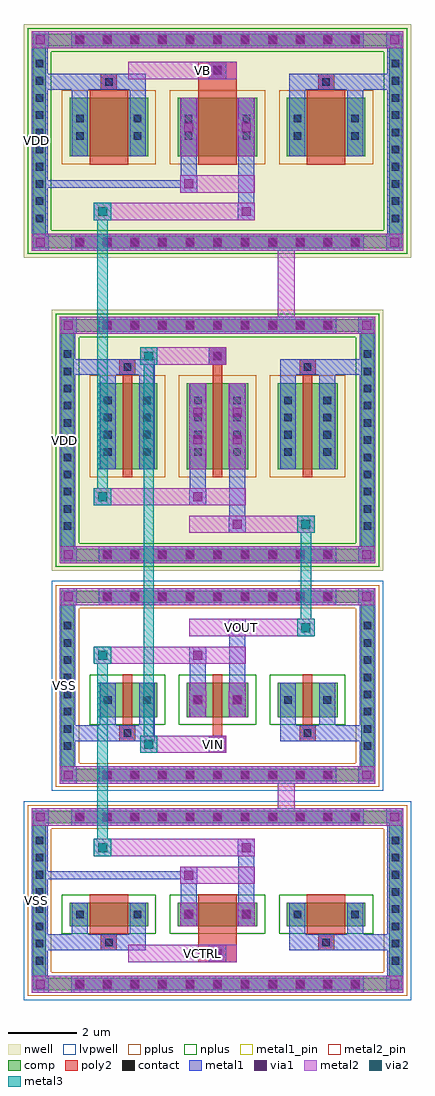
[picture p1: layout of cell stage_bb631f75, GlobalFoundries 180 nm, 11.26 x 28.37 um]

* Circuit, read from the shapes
.subckt stage_bb631f75 VB VCTRL VDD VIN VOUT VSS
XM1 VSS VSS VSS VSS nfet_03v3 w=0.68u l=1.12u m=2
XM2 VSS VSS VSS VSS nfet_03v3 w=1u l=0.28u m=2
XM3 n1 VCTRL VSS VSS nfet_03v3 w=0.68u l=1.12u
XM4 VOUT VIN n1 VSS nfet_03v3 w=1u l=0.28u
XM5 VDD VDD VDD VDD pfet_03v3 w=1.7u l=1.12u m=2
XM6 VDD VDD VDD VDD pfet_03v3 w=2.5u l=0.28u m=2
XM7 n2 VB VDD VDD pfet_03v3 w=1.7u l=1.12u
XM8 VOUT VIN n2 VDD pfet_03v3 w=2.5u l=0.28u
.ends

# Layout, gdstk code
import gdstk
lib = gdstk.Library(unit=1e-6, precision=5e-09)
def R(c, l, rs):  # rectangles x0, y0, x1, y1
    for r in rs: c.add(gdstk.rectangle(r[:2], r[2:], *l))
def A(c, l, x, y, w, h, nx, ny, dx, dy):  # array of equal rectangles
    R(c, l, [(x+i*dx, y+j*dy, x+i*dx+w, y+j*dy+h) for i in range(nx) for j in range(ny)])
def P(c, l, *ps):  # polygons
    for p in ps: c.add(gdstk.Polygon(p, *l))
nwell = (21, 0)
comp = (22, 0)
poly2 = (30, 0)
pplus = (31, 0)
nplus = (32, 0)
contact = (33, 0)
metal1 = (34, 0)
metal1_pin = (34, 10)
via1 = (35, 0)
metal2 = (36, 0)
metal2_pin = (36, 10)
via2 = (38, 0)
metal3 = (42, 0)
lvpwell = (204, 0)

stage_bb631f75 = lib.new_cell('stage_bb631f75')
R(stage_bb631f75, nwell, [(-4.82,9.59,4.82,17.18), (-4.66,9.75,4.66,17.02), (-5.63,18.68,5.63,25.48), (-5.47,18.84,5.47,25.32)])
A(stage_bb631f75, comp, -4.18, -2.61, 0.36, 0.36, 11, 2, 0.8, 4.86)
A(stage_bb631f75, comp, -5.35, -1.93, 0.36, 0.36, 1, 8, 0, 0.5)
A(stage_bb631f75, comp, 4.99, -1.93, 0.36, 0.36, 1, 8, 0, 0.5)
A(stage_bb631f75, comp, -3.38, 3.47, 0.36, 0.36, 9, 2, 0.8, 5.18)
A(stage_bb631f75, comp, -4.54, 4.31, 0.36, 0.36, 1, 8, 0, 0.5)
A(stage_bb631f75, comp, 4.18, 4.31, 0.36, 0.36, 1, 8, 0, 0.5)
A(stage_bb631f75, comp, -3.38, 9.87, 0.36, 0.36, 9, 2, 0.8, 6.67)
A(stage_bb631f75, comp, -4.54, 10.705, 0.36, 0.36, 1, 11, 0, 0.5)
A(stage_bb631f75, comp, 4.18, 10.705, 0.36, 0.36, 1, 11, 0, 0.5)
A(stage_bb631f75, comp, -4.18, 18.96, 0.36, 0.36, 11, 2, 0.8, 5.88)
A(stage_bb631f75, comp, -5.35, 19.65, 0.36, 0.36, 1, 10, 0, 0.5)
A(stage_bb631f75, comp, 4.99, 19.65, 0.36, 0.36, 1, 10, 0, 0.5)
R(stage_bb631f75, comp, [(-4.18,-2.61,4.18,-2.25), (-5.35,-1.93,-4.99,1.93), (4.99,-1.93,5.35,1.93), (-4.3,-0.74,-2.02,-0.06), (-1.16,-0.74,1.16,-0.06), (2.02,-0.74,4.3,-0.06), (-4.18,2.25,4.18,2.61), (-3.38,3.47,3.38,3.83), (-4.54,4.31,-4.18,8.17), (4.18,4.31,4.54,8.17), (-3.49,5.335,-1.75,6.335), (-0.89,5.335,0.89,6.335), (1.75,5.335,3.49,6.335), (-3.38,8.65,3.38,9.01), (-3.38,9.87,3.38,10.23), (-4.54,10.705,-4.18,16.065), (4.18,10.705,4.54,16.065), (-3.49,12.54,-1.75,15.04), (-0.89,12.54,0.89,15.04), (1.75,12.54,3.49,15.04), (-3.38,16.54,3.38,16.9), (-4.18,18.96,4.18,19.32), (-5.35,19.65,-4.99,24.51), (4.99,19.65,5.35,24.51), (-4.3,21.63,-2.02,23.33), (-1.16,21.63,1.16,23.33), (2.02,21.63,4.3,23.33), (-4.18,24.84,4.18,25.2)])
P(stage_bb631f75, comp, [(5.35,2.61),(-5.35,2.61),(-5.35,-2.25),(-4.99,-2.25),(-4.99,2.25),(4.99,2.25),(4.99,-2.25),(-4.99,-2.25),(-5.35,-2.25),(-5.35,-2.61),(5.35,-2.61)],
  [(5.35,18.96),(-5.35,18.96),(-5.35,24.84),(-4.99,24.84),(-4.99,19.32),(4.99,19.32),(4.99,24.84),(-4.99,24.84),(-5.35,24.84),(-5.35,25.2),(5.35,25.2)],
  [(4.54,9.87),(-4.54,9.87),(-4.54,16.54),(-4.18,16.54),(-4.18,10.23),(4.18,10.23),(4.18,16.54),(-4.18,16.54),(-4.54,16.54),(-4.54,16.9),(4.54,16.9)],
  [(4.54,9.01),(-4.54,9.01),(-4.54,3.83),(-4.18,3.83),(-4.18,8.65),(4.18,8.65),(4.18,3.83),(-4.18,3.83),(-4.54,3.83),(-4.54,3.47),(4.54,3.47)])
A(stage_bb631f75, poly2, -3.72, -0.985, 1.12, 1.17, 3, 1, 3.16, 0)
A(stage_bb631f75, poly2, -2.76, 5.095, 0.28, 1.48, 3, 1, 2.62, 0)
A(stage_bb631f75, poly2, -2.76, 12.3, 0.28, 2.98, 3, 1, 2.62, 0)
A(stage_bb631f75, poly2, -3.72, 21.39, 1.12, 2.18, 3, 1, 3.16, 0)
R(stage_bb631f75, poly2, [(-0.56,-1.79,0.56,-1.29), (-0.18,-1.72,0.18,-1.36), (-3.39,-1.445,-2.93,-0.985), (2.93,-1.445,3.39,-0.985), (-3.34,-1.395,-2.98,-1.035), (2.98,-1.395,3.34,-1.035), (-0.56,-1.29,0.56,-0.985), (-0.25,4.295,0.25,4.795), (-0.18,4.365,0.18,4.725), (-2.85,4.635,-2.39,5.095), (2.39,4.635,2.85,5.095), (-2.8,4.685,-2.44,5.045), (2.44,4.685,2.8,5.045), (-0.14,4.795,0.14,5.095), (-2.85,15.28,-2.39,15.74), (-0.14,15.28,0.14,15.58), (2.39,15.28,2.85,15.74), (-2.8,15.33,-2.44,15.69), (2.44,15.33,2.8,15.69), (-0.25,15.58,0.25,16.08), (-0.18,15.65,0.18,16.01), (-3.39,23.57,-2.93,24.03), (-0.56,23.57,0.56,23.88), (2.93,23.57,3.39,24.03), (-3.34,23.62,-2.98,23.98), (2.98,23.62,3.34,23.98), (-0.56,23.88,0.56,24.38), (-0.18,23.95,0.18,24.31)])
R(stage_bb631f75, pplus, [(-3.72,12.31,-1.52,15.27), (-1.12,12.31,1.12,15.27), (1.52,12.31,3.72,15.27), (-4.53,21.4,-1.79,23.56), (-1.39,21.4,1.39,23.56), (1.79,21.4,4.53,23.56)])
P(stage_bb631f75, pplus, [(5.51,2.77),(-5.51,2.77),(-5.51,-2.09),(-4.83,-2.09),(-4.83,2.09),(4.83,2.09),(4.83,-2.09),(-4.83,-2.09),(-5.51,-2.09),(-5.51,-2.77),(5.51,-2.77)],
  [(4.7,9.17),(-4.7,9.17),(-4.7,3.99),(-4.02,3.99),(-4.02,8.49),(4.02,8.49),(4.02,3.99),(-4.02,3.99),(-4.7,3.99),(-4.7,3.31),(4.7,3.31)])
R(stage_bb631f75, nplus, [(-4.53,-0.97,-1.79,0.17), (-1.39,-0.97,1.39,0.17), (1.79,-0.97,4.53,0.17), (-3.72,5.105,-1.52,6.565), (-1.12,5.105,1.12,6.565), (1.52,5.105,3.72,6.565)])
P(stage_bb631f75, nplus, [(5.51,18.8),(-5.51,18.8),(-5.51,24.68),(-4.83,24.68),(-4.83,19.48),(4.83,19.48),(4.83,24.68),(-4.83,24.68),(-5.51,24.68),(-5.51,25.36),(5.51,25.36)],
  [(4.7,9.71),(-4.7,9.71),(-4.7,16.38),(-4.02,16.38),(-4.02,10.39),(4.02,10.39),(4.02,16.38),(-4.02,16.38),(-4.7,16.38),(-4.7,17.06),(4.7,17.06)])
A(stage_bb631f75, contact, -4.11, -2.54, 0.22, 0.22, 11, 2, 0.8, 4.86)
A(stage_bb631f75, contact, -5.28, -1.86, 0.22, 0.22, 1, 8, 0, 0.5)
A(stage_bb631f75, contact, 5.06, -1.86, 0.22, 0.22, 1, 8, 0, 0.5)
A(stage_bb631f75, contact, -3.31, 3.54, 0.22, 0.22, 9, 2, 0.8, 5.18)
A(stage_bb631f75, contact, -4.47, 4.38, 0.22, 0.22, 1, 8, 0, 0.5)
A(stage_bb631f75, contact, 4.25, 4.38, 0.22, 0.22, 1, 8, 0, 0.5)
A(stage_bb631f75, contact, -3.31, 9.94, 0.22, 0.22, 9, 2, 0.8, 6.67)
A(stage_bb631f75, contact, -4.47, 10.775, 0.22, 0.22, 1, 11, 0, 0.5)
A(stage_bb631f75, contact, 4.25, 10.775, 0.22, 0.22, 1, 11, 0, 0.5)
A(stage_bb631f75, contact, -3.3, 12.93, 0.22, 0.22, 1, 4, 0, 0.5)
A(stage_bb631f75, contact, -2.16, 12.93, 0.22, 0.22, 1, 4, 0, 0.5)
A(stage_bb631f75, contact, -0.68, 12.93, 0.22, 0.22, 1, 4, 0, 0.5)
A(stage_bb631f75, contact, 0.46, 12.93, 0.22, 0.22, 1, 4, 0, 0.5)
A(stage_bb631f75, contact, 1.94, 12.93, 0.22, 0.22, 1, 4, 0, 0.5)
A(stage_bb631f75, contact, 3.08, 12.93, 0.22, 0.22, 1, 4, 0, 0.5)
A(stage_bb631f75, contact, -4.11, 19.03, 0.22, 0.22, 11, 2, 0.8, 5.88)
A(stage_bb631f75, contact, -5.28, 19.72, 0.22, 0.22, 1, 10, 0, 0.5)
A(stage_bb631f75, contact, 5.06, 19.72, 0.22, 0.22, 1, 10, 0, 0.5)
R(stage_bb631f75, contact, [(-0.11,-1.65,0.11,-1.43), (-3.27,-1.325,-3.05,-1.105), (3.05,-1.325,3.27,-1.105), (-4.11,-0.51,-3.89,-0.29), (-2.43,-0.51,-2.21,-0.29), (-0.95,-0.51,-0.73,-0.29), (0.73,-0.51,0.95,-0.29), (2.21,-0.51,2.43,-0.29), (3.89,-0.51,4.11,-0.29), (-0.11,4.435,0.11,4.655), (-2.73,4.755,-2.51,4.975), (2.51,4.755,2.73,4.975), (-3.3,5.725,-3.08,5.945), (-2.16,5.725,-1.94,5.945), (-0.68,5.725,-0.46,5.945), (0.46,5.725,0.68,5.945), (1.94,5.725,2.16,5.945), (3.08,5.725,3.3,5.945), (-2.73,15.4,-2.51,15.62), (2.51,15.4,2.73,15.62), (-0.11,15.72,0.11,15.94), (-4.11,22.12,-3.89,22.34), (-2.43,22.12,-2.21,22.34), (-0.95,22.12,-0.73,22.34), (0.73,22.12,0.95,22.34), (2.21,22.12,2.43,22.34), (3.89,22.12,4.11,22.34), (-4.11,22.62,-3.89,22.84), (-2.43,22.62,-2.21,22.84), (-0.95,22.62,-0.73,22.84), (0.73,22.62,0.95,22.84), (2.21,22.62,2.43,22.84), (3.89,22.62,4.11,22.84), (-3.27,23.69,-3.05,23.91), (3.05,23.69,3.27,23.91), (-0.11,24.02,0.11,24.24)])
A(stage_bb631f75, metal1, -4.25, -2.68, 0.5, 0.5, 11, 2, 0.8, 4.86)
A(stage_bb631f75, metal1, -5.4, -1.98, 0.46, 0.46, 1, 8, 0, 0.5)
A(stage_bb631f75, metal1, 4.94, -1.98, 0.46, 0.46, 1, 8, 0, 0.5)
A(stage_bb631f75, metal1, -3.45, 3.4, 0.5, 0.5, 9, 2, 0.8, 5.18)
A(stage_bb631f75, metal1, -4.59, 4.26, 0.46, 0.46, 1, 8, 0, 0.5)
A(stage_bb631f75, metal1, 4.13, 4.26, 0.46, 0.46, 1, 8, 0, 0.5)
A(stage_bb631f75, metal1, -3.45, 9.8, 0.5, 0.5, 9, 2, 0.8, 6.67)
A(stage_bb631f75, metal1, -4.59, 10.655, 0.46, 0.46, 1, 11, 0, 0.5)
A(stage_bb631f75, metal1, 4.13, 10.655, 0.46, 0.46, 1, 11, 0, 0.5)
A(stage_bb631f75, metal1, -3.42, 12.81, 0.46, 0.46, 1, 4, 0, 0.5)
A(stage_bb631f75, metal1, -2.28, 12.81, 0.46, 0.46, 1, 4, 0, 0.5)
A(stage_bb631f75, metal1, -0.8, 12.81, 0.46, 0.46, 1, 4, 0, 0.5)
A(stage_bb631f75, metal1, 0.34, 12.81, 0.46, 0.46, 1, 4, 0, 0.5)
A(stage_bb631f75, metal1, 1.82, 12.81, 0.46, 0.46, 1, 4, 0, 0.5)
A(stage_bb631f75, metal1, 2.96, 12.81, 0.46, 0.46, 1, 4, 0, 0.5)
A(stage_bb631f75, metal1, -4.25, 18.89, 0.5, 0.5, 11, 2, 0.8, 5.88)
A(stage_bb631f75, metal1, -5.4, 19.6, 0.46, 0.46, 1, 10, 0, 0.5)
A(stage_bb631f75, metal1, 4.94, 19.6, 0.46, 0.46, 1, 10, 0, 0.5)
R(stage_bb631f75, metal1, [(-5.4,-2.68,-4.9,-2.18), (-5.4,-2.68,-4.9,-2.18), (-5.4,-2.68,-4.94,-2.25), (-4.25,-2.68,4.25,-2.18), (4.9,-2.68,5.4,-2.18), (4.9,-2.68,5.4,-2.18), (4.94,-2.68,5.4,-2.25), (-5.4,-2.25,-4.94,2.25), (4.94,-2.25,5.4,2.25), (-0.25,-1.79,0.25,-1.29), (-5.4,-1.445,-3.39,-0.985), (-4.23,-1.445,-3.39,-0.985), (-4.23,-1.445,-3.77,-0.74), (-3.39,-1.445,-2.93,-0.985), (-2.93,-1.445,-2.09,-0.985), (-2.55,-1.445,-2.09,-0.74), (2.09,-1.445,2.93,-0.985), (2.09,-1.445,2.55,-0.74), (2.93,-1.445,3.39,-0.985), (2.93,-1.445,5.4,-0.985), (3.39,-1.445,4.23,-0.985), (3.77,-1.445,4.23,-0.74), (-4.23,-0.74,-3.77,-0.06), (-2.55,-0.74,-2.09,-0.06), (-1.07,-0.74,-0.61,-0.06), (0.61,-0.74,1.07,-0.06), (2.09,-0.74,2.55,-0.06), (3.77,-0.74,4.23,-0.06), (-1.09,-0.65,-0.59,-0.15), (-1.09,-0.65,-0.59,-0.15), (0.59,-0.65,1.09,-0.15), (0.59,-0.65,1.09,-0.15), (-4.23,-0.63,-3.77,-0.17), (-2.55,-0.63,-2.09,-0.17), (-1.07,-0.63,-0.61,-0.17), (0.61,-0.63,1.07,-0.17), (2.09,-0.63,2.55,-0.17), (3.77,-0.63,4.23,-0.17), (-1.07,-0.06,-0.61,0.99), (0.61,-0.06,1.07,1.79), (-1.09,0.49,-0.59,0.99), (-1.09,0.49,-0.59,0.99), (-1.09,0.49,-0.59,0.99), (-5.4,0.625,-1.09,0.855), (0.59,1.29,1.09,1.79), (-5.4,2.18,-4.9,2.68), (-5.4,2.18,-4.9,2.68), (-4.25,2.18,4.25,2.68), (4.9,2.18,5.4,2.68), (4.9,2.18,5.4,2.68), (-5.4,2.25,-4.94,2.68), (4.94,2.25,5.4,2.68), (-4.59,3.4,-4.09,3.9), (-4.59,3.4,-4.09,3.9), (-4.59,3.4,-4.13,3.83), (-3.45,3.4,3.45,3.9), (4.09,3.4,4.59,3.9), (4.09,3.4,4.59,3.9), (4.13,3.4,4.59,3.83), (-4.59,3.83,-4.13,8.65), (4.13,3.83,4.59,8.65), (-0.25,4.295,0.25,4.795), (-4.59,4.635,-2.85,5.095), (-3.42,4.635,-2.96,5.335), (-3.42,4.635,-2.85,5.095), (-2.85,4.635,-2.39,5.095), (-2.39,4.635,-1.82,5.095), (-2.28,4.635,-1.82,5.335), (1.82,4.635,2.28,5.335), (1.82,4.635,2.39,5.095), (2.39,4.635,2.85,5.095), (2.39,4.635,4.59,5.095), (2.85,4.635,3.42,5.095), (2.96,4.635,3.42,5.335), (-3.42,5.335,-2.96,6.335), (-2.28,5.335,-1.82,6.335), (-0.8,5.335,-0.34,6.335), (0.34,5.335,0.8,6.335), (1.82,5.335,2.28,6.335), (2.96,5.335,3.42,6.335), (-0.82,5.585,-0.32,6.085), (-0.82,5.585,-0.32,6.085), (0.32,5.585,0.82,6.085), (0.32,5.585,0.82,6.085), (-3.42,5.605,-2.96,6.065), (-2.28,5.605,-1.82,6.065), (-0.8,5.605,-0.34,6.065), (0.34,5.605,0.8,6.065), (1.82,5.605,2.28,6.065), (2.96,5.605,3.42,6.065), (-0.8,6.335,-0.34,7.385), (0.34,6.335,0.8,8.185), (-0.82,6.885,-0.32,7.385), (0.32,7.685,0.82,8.185), (-4.59,8.58,-4.09,9.08), (-4.59,8.58,-4.09,9.08), (-3.45,8.58,3.45,9.08), (4.09,8.58,4.59,9.08), (4.09,8.58,4.59,9.08), (-4.59,8.65,-4.13,9.08), (4.13,8.65,4.59,9.08), (-4.59,9.8,-4.09,10.3), (-4.59,9.8,-4.09,10.3), (-4.59,9.8,-4.13,10.23), (-3.45,9.8,3.45,10.3), (4.09,9.8,4.59,10.3), (4.09,9.8,4.59,10.3), (4.13,9.8,4.59,10.23), (-4.59,10.23,-4.13,16.54), (4.13,10.23,4.59,16.54), (0.32,10.69,0.82,11.19), (0.34,10.69,0.8,12.54), (-0.82,11.49,-0.32,11.99), (-0.8,11.49,-0.34,12.54), (-3.42,12.54,-2.96,15.04), (-2.28,12.54,-1.82,15.04), (-0.8,12.54,-0.34,15.04), (0.34,12.54,0.8,15.04), (1.82,12.54,2.28,15.04), (2.96,12.54,3.42,15.04), (-0.82,13.14,-0.32,13.64), (-0.82,13.14,-0.32,14.44), (0.32,13.14,0.82,13.64), (0.32,13.14,0.82,14.44), (-0.82,13.94,-0.32,14.44), (0.32,13.94,0.82,14.44), (-3.42,15.04,-2.96,15.74), (-2.28,15.04,-1.82,15.74), (1.82,15.04,2.28,15.74), (2.96,15.04,3.42,15.74), (-4.59,15.28,-2.85,15.74), (-3.42,15.28,-2.85,15.74), (-2.85,15.28,-2.39,15.74), (-2.39,15.28,-1.82,15.74), (1.82,15.28,2.39,15.74), (2.39,15.28,2.85,15.74), (2.39,15.28,4.59,15.74), (2.85,15.28,3.42,15.74), (-0.25,15.58,0.25,16.08), (-4.59,16.47,-4.09,16.97), (-4.59,16.47,-4.09,16.97), (-3.45,16.47,3.45,16.97), (4.09,16.47,4.59,16.97), (4.09,16.47,4.59,16.97), (-4.59,16.54,-4.13,16.97), (4.13,16.54,4.59,16.97), (-5.4,18.89,-4.9,19.39), (-5.4,18.89,-4.9,19.39), (-5.4,18.89,-4.94,19.32), (-4.25,18.89,4.25,19.39), (4.9,18.89,5.4,19.39), (4.9,18.89,5.4,19.39), (4.94,18.89,5.4,19.32), (-5.4,19.32,-4.94,24.84), (4.94,19.32,5.4,24.84), (0.59,19.78,1.09,20.28), (0.61,19.78,1.07,21.63), (-1.09,20.58,-0.59,21.08), (-1.09,20.58,-0.59,21.08), (-1.09,20.58,-0.59,21.08), (-1.07,20.58,-0.61,21.63), (-5.4,20.715,-1.09,20.945), (-4.23,21.63,-3.77,23.33), (-2.55,21.63,-2.09,23.33), (-1.07,21.63,-0.61,23.33), (0.61,21.63,1.07,23.33), (2.09,21.63,2.55,23.33), (3.77,21.63,4.23,23.33), (-4.23,22,-3.77,22.46), (-2.55,22,-2.09,22.46), (-1.07,22,-0.61,22.46), (0.61,22,1.07,22.46), (2.09,22,2.55,22.46), (3.77,22,4.23,22.46), (-1.09,22.23,-0.59,22.73), (-1.09,22.23,-0.59,22.73), (0.59,22.23,1.09,22.73), (0.59,22.23,1.09,22.73), (-4.23,22.5,-3.77,22.96), (-2.55,22.5,-2.09,22.96), (-1.07,22.5,-0.61,22.96), (0.61,22.5,1.07,22.96), (2.09,22.5,2.55,22.96), (3.77,22.5,4.23,22.96), (-4.23,23.33,-3.77,24.03), (-2.55,23.33,-2.09,24.03), (2.09,23.33,2.55,24.03), (3.77,23.33,4.23,24.03), (-5.4,23.57,-3.39,24.03), (-4.23,23.57,-3.39,24.03), (-3.39,23.57,-2.93,24.03), (-2.93,23.57,-2.09,24.03), (2.09,23.57,2.93,24.03), (2.93,23.57,3.39,24.03), (2.93,23.57,5.4,24.03), (3.39,23.57,4.23,24.03), (-0.25,23.88,0.25,24.38), (-5.4,24.77,-4.9,25.27), (-5.4,24.77,-4.9,25.27), (-4.25,24.77,4.25,25.27), (4.9,24.77,5.4,25.27), (4.9,24.77,5.4,25.27), (-5.4,24.84,-4.94,25.27), (4.94,24.84,5.4,25.27)])
R(stage_bb631f75, metal1_pin, [(-5.4,-0.135,-5.13,0.135), (-4.59,6.105,-4.32,6.375), (-4.59,13.25,-4.32,13.52), (-5.4,21.945,-5.13,22.215)])
A(stage_bb631f75, via1, -4.13, -2.56, 0.26, 0.26, 11, 2, 0.8, 4.86)
A(stage_bb631f75, via1, -3.33, 3.52, 0.26, 0.26, 9, 2, 0.8, 5.18)
A(stage_bb631f75, via1, -3.33, 9.92, 0.26, 0.26, 9, 2, 0.8, 6.67)
A(stage_bb631f75, via1, -4.13, 19.01, 0.26, 0.26, 11, 2, 0.8, 5.88)
R(stage_bb631f75, via1, [(-5.28,-2.56,-5.02,-2.3), (5.02,-2.56,5.28,-2.3), (-0.13,-1.67,0.13,-1.41), (-0.97,-0.53,-0.71,-0.27), (0.71,-0.53,0.97,-0.27), (-0.97,0.61,-0.71,0.87), (-0.97,0.61,-0.71,0.87), (0.71,1.41,0.97,1.67), (-5.28,2.3,-5.02,2.56), (5.02,2.3,5.28,2.56), (-4.47,3.52,-4.21,3.78), (4.21,3.52,4.47,3.78), (-0.13,4.415,0.13,4.675), (-0.7,5.705,-0.44,5.965), (0.44,5.705,0.7,5.965), (-0.7,7.005,-0.44,7.265), (0.44,7.805,0.7,8.065), (-4.47,8.7,-4.21,8.96), (4.21,8.7,4.47,8.96), (-4.47,9.92,-4.21,10.18), (4.21,9.92,4.47,10.18), (0.44,10.81,0.7,11.07), (-0.7,11.61,-0.44,11.87), (-0.7,13.26,-0.44,13.52), (0.44,13.26,0.7,13.52), (-0.7,14.06,-0.44,14.32), (0.44,14.06,0.7,14.32), (-0.13,15.7,0.13,15.96), (-4.47,16.59,-4.21,16.85), (4.21,16.59,4.47,16.85), (-5.28,19.01,-5.02,19.27), (5.02,19.01,5.28,19.27), (0.71,19.9,0.97,20.16), (-0.97,20.7,-0.71,20.96), (-0.97,20.7,-0.71,20.96), (-0.97,22.35,-0.71,22.61), (0.71,22.35,0.97,22.61), (-0.13,24,0.13,24.26), (-5.28,24.89,-5.02,25.15), (5.02,24.89,5.28,25.15)])
A(stage_bb631f75, metal2, -4.25, -2.68, 0.5, 0.5, 11, 2, 0.8, 4.86)
A(stage_bb631f75, metal2, -3.45, 3.4, 0.5, 0.5, 9, 2, 0.8, 5.18)
A(stage_bb631f75, metal2, -3.45, 9.8, 0.5, 0.5, 9, 2, 0.8, 6.67)
A(stage_bb631f75, metal2, -4.25, 18.89, 0.5, 0.5, 11, 2, 0.8, 5.88)
R(stage_bb631f75, metal2, [(-5.4,-2.68,-4.9,-2.18), (-5.4,-2.68,-4.9,-2.18), (-5.4,-2.68,-4.99,-2.18), (-4.99,-2.68,4.99,-2.18), (4.9,-2.68,5.4,-2.18), (4.9,-2.68,5.4,-2.18), (4.99,-2.68,5.4,-2.18), (-2.6,-1.79,-0.56,-1.29), (-0.56,-1.79,0.56,-1.29), (-0.25,-1.79,0.25,-1.29), (-1.09,-0.74,-0.59,-0.06), (0.59,-0.74,1.09,-0.06), (-1.09,-0.65,-0.59,-0.15), (0.59,-0.65,1.09,-0.15), (-1.09,0.49,-0.59,0.99), (-1.09,0.49,-0.59,0.99), (-1.09,0.49,1.09,0.99), (-3.59,1.29,-3.09,1.79), (-3.59,1.29,-1.09,1.79), (-1.09,1.29,1.09,1.79), (0.59,1.29,1.09,1.79), (-5.4,2.18,-4.9,2.68), (-5.4,2.18,-4.9,2.68), (-5.4,2.18,-4.99,2.68), (-4.99,2.18,4.99,2.68), (4.9,2.18,5.4,2.68), (4.9,2.18,5.4,2.68), (4.99,2.18,5.4,2.68), (1.75,2.23,2.25,3.85), (-4.59,3.4,-4.09,3.9), (-4.59,3.4,-4.09,3.9), (-4.59,3.4,-4.18,3.9), (-4.18,3.4,4.18,3.9), (4.09,3.4,4.59,3.9), (4.09,3.4,4.59,3.9), (4.18,3.4,4.59,3.9), (-2.25,4.295,-1.75,4.795), (-2.25,4.295,-0.25,4.795), (-0.25,4.295,0.25,4.795), (-0.25,4.295,0.25,4.795), (-0.82,5.335,-0.32,6.335), (0.32,5.335,0.82,6.335), (-0.82,5.585,-0.32,6.085), (0.32,5.585,0.82,6.085), (-3.59,6.885,-3.09,7.385), (-3.59,6.885,-0.82,7.385), (-0.82,6.885,-0.32,7.385), (-0.82,6.885,0.82,7.385), (-0.82,7.685,0.82,8.185), (0.32,7.685,0.82,8.185), (0.82,7.685,2.82,8.185), (2.32,7.685,2.82,8.185), (-4.59,8.58,-4.09,9.08), (-4.59,8.58,-4.09,9.08), (-4.59,8.58,-4.18,9.08), (-4.18,8.58,4.18,9.08), (4.09,8.58,4.59,9.08), (4.09,8.58,4.59,9.08), (4.18,8.58,4.59,9.08), (-4.59,9.8,-4.09,10.3), (-4.59,9.8,-4.09,10.3), (-4.59,9.8,-4.18,10.3), (-4.18,9.8,4.18,10.3), (4.09,9.8,4.59,10.3), (4.09,9.8,4.59,10.3), (4.18,9.8,4.59,10.3), (-0.82,10.69,0.82,11.19), (0.32,10.69,0.82,11.19), (0.82,10.69,2.82,11.19), (2.32,10.69,2.82,11.19), (-3.59,11.49,-3.09,11.99), (-3.59,11.49,-0.82,11.99), (-0.82,11.49,-0.32,11.99), (-0.82,11.49,0.82,11.99), (-0.82,12.54,-0.32,15.04), (0.32,12.54,0.82,15.04), (-0.82,13.14,-0.32,13.64), (0.32,13.14,0.82,13.64), (-0.82,13.94,-0.32,14.44), (0.32,13.94,0.82,14.44), (-2.25,15.58,-1.75,16.08), (-2.25,15.58,-0.25,16.08), (-0.25,15.58,0.25,16.08), (-0.25,15.58,0.25,16.08), (-4.59,16.47,-4.09,16.97), (-4.59,16.47,-4.09,16.97), (-4.59,16.47,-4.18,16.97), (-4.18,16.47,4.18,16.97), (4.09,16.47,4.59,16.97), (4.09,16.47,4.59,16.97), (4.18,16.47,4.59,16.97), (1.75,16.52,2.25,19.34), (-5.4,18.89,-4.9,19.39), (-5.4,18.89,-4.9,19.39), (-5.4,18.89,-4.99,19.39), (-4.99,18.89,4.99,19.39), (4.9,18.89,5.4,19.39), (4.9,18.89,5.4,19.39), (4.99,18.89,5.4,19.39), (-3.59,19.78,-3.09,20.28), (-3.59,19.78,-1.09,20.28), (-1.09,19.78,1.09,20.28), (0.59,19.78,1.09,20.28), (-1.09,20.58,-0.59,21.08), (-1.09,20.58,-0.59,21.08), (-1.09,20.58,1.09,21.08), (-1.09,21.63,-0.59,23.33), (0.59,21.63,1.09,23.33), (-1.09,22.23,-0.59,22.73), (0.59,22.23,1.09,22.73), (-2.6,23.88,-0.56,24.38), (-0.56,23.88,0.56,24.38), (-0.25,23.88,0.25,24.38), (-5.4,24.77,-4.9,25.27), (-5.4,24.77,-4.9,25.27), (-5.4,24.77,-4.99,25.27), (-4.99,24.77,4.99,25.27), (4.9,24.77,5.4,25.27), (4.9,24.77,5.4,25.27), (4.99,24.77,5.4,25.27)])
R(stage_bb631f75, metal2_pin, [(-0.56,-1.675,-0.29,-1.405), (-0.25,4.41,0.02,4.68), (0.55,7.8,0.82,8.07), (-0.56,23.995,-0.29,24.265)])
R(stage_bb631f75, via2, [(-3.47,1.41,-3.21,1.67), (-2.13,4.415,-1.87,4.675), (-3.47,7.005,-3.21,7.265), (2.44,7.805,2.7,8.065), (2.44,10.81,2.7,11.07), (-3.47,11.61,-3.21,11.87), (-2.13,15.7,-1.87,15.96), (-3.47,19.9,-3.21,20.16)])
R(stage_bb631f75, metal3, [(-3.59,1.29,-3.09,1.79), (-3.59,1.29,-3.09,1.79), (-3.49,1.29,-3.19,7.385), (-3.19,1.29,-3.09,1.79), (-2.25,4.295,-1.75,4.795), (-2.25,4.295,-1.75,4.795), (-2.15,4.295,-1.85,16.08), (-1.85,4.295,-1.75,4.795), (-3.59,6.885,-3.09,7.385), (-3.59,6.885,-3.09,7.385), (-3.19,6.885,-3.09,7.385), (2.32,7.685,2.82,8.185), (2.32,7.685,2.82,8.185), (2.42,7.685,2.72,11.19), (2.72,7.685,2.82,8.185), (2.32,10.69,2.82,11.19), (2.32,10.69,2.82,11.19), (2.72,10.69,2.82,11.19), (-3.59,11.49,-3.09,11.99), (-3.59,11.49,-3.09,11.99), (-3.49,11.49,-3.19,20.28), (-3.19,11.49,-3.09,11.99), (-2.25,15.58,-1.75,16.08), (-2.25,15.58,-1.75,16.08), (-1.85,15.58,-1.75,16.08), (-3.59,19.78,-3.09,20.28), (-3.59,19.78,-3.09,20.28), (-3.19,19.78,-3.09,20.28)])
R(stage_bb631f75, lvpwell, [(-5.63,-2.89,5.63,2.89), (-4.82,3.19,4.82,9.29)])
stage_bb631f75.add(gdstk.Label('VIN', (-0.115,4.545), layer=36, texttype=10))
stage_bb631f75.add(gdstk.Label('VOUT', (0.685,7.935), layer=36, texttype=10))
stage_bb631f75.add(gdstk.Label('VCTRL', (-0.425,-1.54), layer=36, texttype=10))
stage_bb631f75.add(gdstk.Label('VB', (-0.425,24.13), layer=36, texttype=10))
stage_bb631f75.add(gdstk.Label('VSS', (-5.265,0), layer=34, texttype=10))
stage_bb631f75.add(gdstk.Label('VSS', (-4.455,6.24), layer=34, texttype=10))
stage_bb631f75.add(gdstk.Label('VDD', (-5.265,22.08), layer=34, texttype=10))
stage_bb631f75.add(gdstk.Label('VDD', (-4.455,13.385), layer=34, texttype=10))

lib.write_gds('stage_bb631f75.gds')
